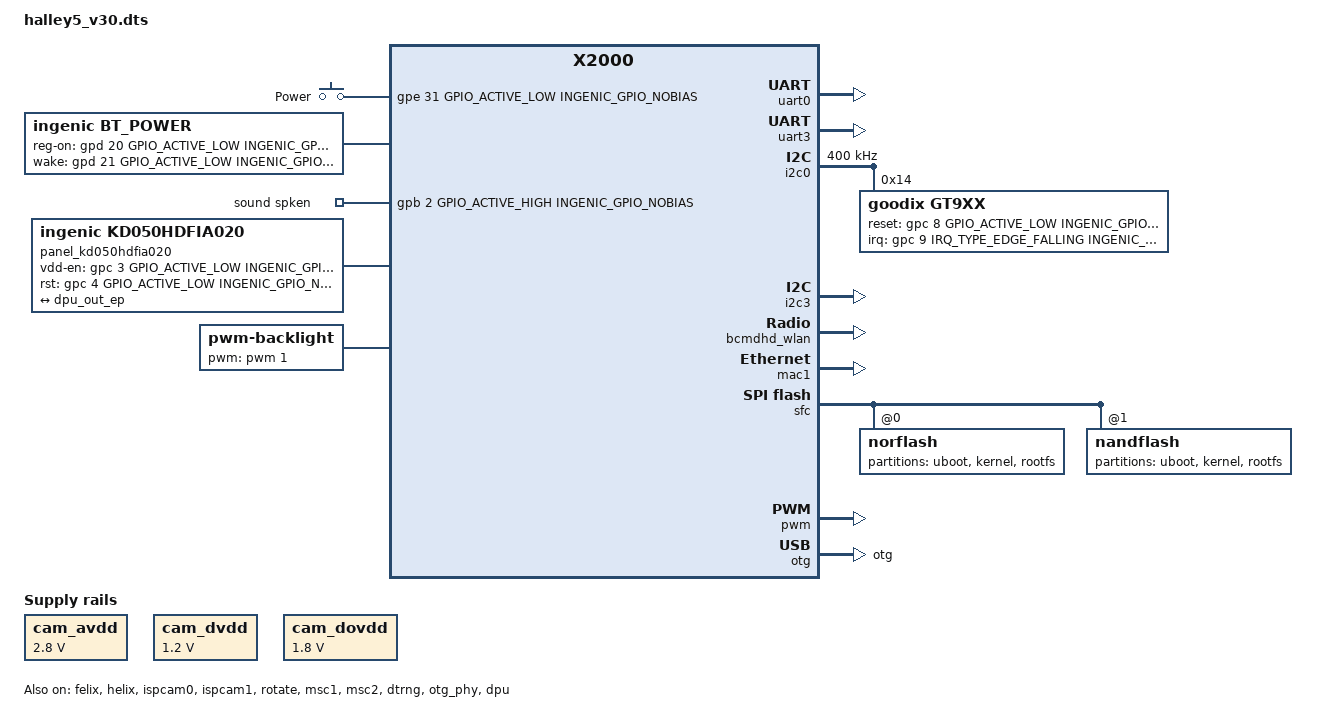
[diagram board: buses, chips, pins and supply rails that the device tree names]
/dts-v1/;

#include <dt-bindings/input/input.h>
#include "x2000.dtsi"
#include <dt-bindings/interrupt-controller/irq.h>
#include <generated/autoconf.h>

#ifdef  CONFIG_RD_X2000_HALLEY5_CAMERA_2V1
#include "halley5_cameras/RD_X2000_HALLEY5_CAMERA_2V1.dtsi"
#elif CONFIG_RD_X2000_HALLEY5_CAMERA_3V2
#ifdef CONFIG_OV4689_1080P_120FPS
#include "halley5_cameras/RD_X2000_HALLEY5_CAMERA_3V2_4LANE.dtsi"
#else
#include "halley5_cameras/RD_X2000_HALLEY5_CAMERA_3V2.dtsi"
#endif
#elif CONFIG_RD_X2000_HALLEY5_CAMERA_4V2
#include "halley5_cameras/RD_X2000_HALLEY5_CAMERA_4V2.dtsi"
#elif CONFIG_RD_X2000_HALLEY5_CAMERA_4V3
#include "halley5_cameras/RD_X2000_HALLEY5_CAMERA_4V3.dtsi"
#elif CONFIG_RD_X2000_HALLEY5_CAMERA_5V0
#include "halley5_cameras/RD_X2000_HALLEY5_CAMERA_5V0.dtsi"
#endif

/ {
	compatible = "ingenic,halley5", "ingenic,x2000";

	/*chosen {
		bootargs = "console=ttyS1,115200 mem=128M@0x0ip=off init=/linuxrc ubi.mtd=3 root=ubi0:rootfs ubi.mtd=4 rootfstype=ubifs rw";
	};*/

	reserved-memory {
		#address-cells = <1>;
		#size-cells = <1>;
		ranges =<>;

		reserved_memory: reserved_mem@0x6000000{
		      compatible = "shared-dma-pool";
		      reg = <0x06000000 0x2000000>;
		};
	};

		  cam_avdd: cam_regulator_avdd {
			  compatible = "regulator-fixed";
			  regulator-name = "cam_avdd";
			  regulator-min-microvolt = <2800000>;
			  regulator-max-microvolt = <2800000>;
			  regulator-always-on;
			  regulator-boot-on;
		  };
		  cam_dvdd: cam_regulator_dvdd {
			  compatible = "regulator-fixed";
			  regulator-name = "cam_dvdd";
			  regulator-min-microvolt = <1200000>;
			  regulator-max-microvolt = <1200000>;
			  regulator-always-on;
			  regulator-boot-on;
		  };
		  cam_dovdd: cam_regulator_dovdd {
			   compatible = "regulator-fixed";
			   regulator-name = "cam_dovdd";
			   regulator-min-microvolt = <1800000>;
			   regulator-max-microvolt = <1800000>;
			   regulator-always-on;
			   regulator-boot-on;
		  };
};

&uart0 {
	status = "okay";
	pinctrl-names = "default";
	pinctrl-0 = <&uart0_pd>;
};

&uart2 {
	status = "disable";
};

&uart3 {
	status = "okay";
	pinctrl-names = "default";
	pinctrl-0 = <&uart3_pc>;
};

&cpufreq {
	status = "okay";
	operating-points = <
		/*KHZ uV */
		1200000	900000
		750000	900000
		600000	900000
		500000	900000
		400000	900000
		375000	900000
		300000	900000
		200000	900000
			>;

};

&pinctrl {
	ingenic,gpa_voltage = <GPIO_VOLTAGE_1V8>;
};

&pinctrl {
	touchscreen_pins:touchscreen-pins {
		touchscreen_int_out_high:touchscreen-int-out-high {
			ingenic,pinmux = <&gpc 9 9>;
			ingenic,pinmux-funcsel = <PINCTL_FUNCHILVL>;
		};
		touchscreen_int_out_low:touchscreen-int-out-low {
			ingenic,pinmux = <&gpc 9 9>;
			ingenic,pinmux-funcsel = <PINCTL_FUNCLOLVL>;
		};
		touchscreen_int_input:touchscreen-int-input {
			ingenic,pinmux = <&gpc 9 9>;
			ingenic,pinmux-funcsel = <PINCTL_FUNCINPUT_FE>;
		};
		touchscreen_default:touchscreen-default {
			ingenic,pinmux = <&gpc 9 9>;
			ingenic,pinmux-funcsel = <PINCTL_FUNCINPUT>;
		};
	};
};

&i2c0 {
	status = "okay";
	clock-frequency = <400000>;
	pinctrl-names = "default";
	pinctrl-0 = <&i2c0_pc>;

	goodix@14{
		compatible = "goodix,gt9xx"; /* do not modify */
		reg = <0x14>; /* do not modify */
		reset-gpios = <&gpc 8 GPIO_ACTIVE_LOW INGENIC_GPIO_NOBIAS>; /* RST pin */
		irq-gpios = <&gpc 9 IRQ_TYPE_EDGE_FALLING INGENIC_GPIO_NOBIAS>; /* INT pin */
		goodix,driver-send-cfg = <1>;
		touchscreen-size-x = <1280>;
		touchscreen-size-y = <720>;
		goodix,slide-wakeup = <0>;
		goodix,type-a-report = <0>;
		goodix,resume-in-workqueue = <0>;
		goodix,int-sync = <1>;
		goodix,swap-x2y = <0>;
		goodix,auto-update-cfg = <0>;
		goodix,power-off-sleep = <0>;
		goodix,pen-suppress-finger = <0>;
		irq-flags = <2>; /* 1 rising, 2 falling */
		pinctrl-names = "default", "int-output-high", "int-output-low", "int-input";
		pinctrl-0 = <&touchscreen_default>;
		pinctrl-1 = <&touchscreen_int_out_high>;
		pinctrl-2 = <&touchscreen_int_out_low>;
		pinctrl-3 = <&touchscreen_int_input>;
		goodix,cfg-group0 = [
			00 D0 02 00 05 0A 05 00 01 08 28
			05 50 32 03 05 00 00 00 00 00 00
			00 00 00 00 00 87 28 09 17 15 31
			0D 00 00 02 9B 03 25 00 00 00 00
			00 03 64 32 00 00 00 0F 36 94 C5
			02 07 00 00 04 9B 11 00 7B 16 00
			64 1C 00 50 25 00 42 2F 00 42 00
			00 00 00 00 00 00 00 00 00 00 00
			00 00 00 00 00 00 00 00 00 00 00
			00 00 00 00 00 00 00 00 00 00 00
			00 00 12 10 0E 0C 0A 08 06 04 02
			FF FF FF FF FF 00 00 00 00 00 00
			00 00 00 00 00 00 00 00 00 00 26
			24 22 21 20 1F 1E 1D 00 02 04 06
			08 0A 0C FF FF FF FF FF FF FF FF
			FF FF FF 00 00 00 00 00 00 00 00
			00 00 00 00 00 00 00 00 CF 01];
	};

};

&i2c3 {
	status = "okay";
};

&i2c4 {
	status = "disable";
};


&felix {
	status = "okay";
	memory-region=<&reserved_memory>;
};

&helix {
	status = "okay";
	memory-region=<&reserved_memory>;
};

&ispcam0 {
	status = "okay";
	memory-region=<&reserved_memory>;
};

&ispcam1 {
	status = "okay";
	memory-region=<&reserved_memory>;
};

&rotate {
	status = "okay";
	memory-region=<&reserved_memory>;
};

&pdma {
	status = "okay";
};

&msc0 {
	status = "disable";
	/*mmc-hs200-1_8v;*/
	cap-mmc-highspeed;
	non-removable;
	max-frequency = <50000000>;
	bus-width = <4>;
	non-removable;
	voltage-ranges = <1800 3300>;

	/* special property */
	ingenic,rst-gpios = <0>;
};

&msc1 {
	status = "okay";
	pinctrl-names ="default","enable", "disable";
	pinctrl-0 = <&msc1_4bit>;
	pinctrl-1 = <&rtc32k_enable>;
	pinctrl-2 = <&rtc32k_disable>;

	sd-uhs-sdr104;
	max-frequency = <100000000>;
	bus-width = <4>;
	voltage-ranges = <1800 3300>;
	non-removable;

	ingenic,sdio_clk = <1>;
	keep-power-in-suspend;

	/* special property */
	ingenic,sdr-gpios = <0>;
	ingenic,rst-gpios = <0>;
	ingenic,removal-manual; /*removal-dontcare, removal-nonremovable, removal-removable, removal-manual*/

	bcmdhd_wlan: bcmdhd_wlan {
		 compatible = "android,bcmdhd_wlan";
		 ingenic,sdio-irq = <&gpd 0 IRQ_TYPE_LEVEL_HIGH INGENIC_GPIO_NOBIAS>;
		 ingenic,sdio-reset = <&gpd 1 GPIO_ACTIVE_LOW INGENIC_GPIO_NOBIAS>;
	};
};

&msc2 {
	status = "okay";
	pinctrl-names ="default";
	pinctrl-0 = <&msc2_4bit>;
	sd-uhs-sdr104;
	/*cap-mmc-highspeed;*/
	max-frequency = <200000000>;
	bus-width = <4>;
	voltage-ranges = <1800 3300>;

	/* special property */
	cd-gpios = <&gpc 12 GPIO_ACTIVE_LOW INGENIC_GPIO_NOBIAS>;
	wp-gpios = <0>;
	ingenic,sdr-gpios = <&gpc 0 GPIO_ACTIVE_HIGH INGENIC_GPIO_NOBIAS>;
	ingenic,rst-gpios = <0>;
};


&mac1 {
	pinctrl-names = "default", "reset";
	pinctrl-0 = <&mac1_rgmii_p0_normal>, <&mac1_rgmii_p1_normal>;
	pinctrl-1 = <&mac1_rgmii_p0_rst>, <&mac1_rgmii_p1_normal>;
	status = "okay";
	ingenic,rst-gpio = <&gpb 16 GPIO_ACTIVE_LOW INGENIC_GPIO_NOBIAS>;
	ingenic,rst-ms = <10>;
	ingenic,rst-delay-ms = <15>;
	ingenic,mac-mode = <RGMII>;
	ingenic,mode-reg = <0xb00000e8>;
	ingenic,rx-clk-delay = <0x0>;
	ingenic,tx-clk-delay = <0x3f>;
	/*force mac mode*/
	/*
	ingenic,mac-force = <MAC_ON>;
	ingenic,mac-autoneg = <MAC_ON>;
	ingenic,mac-speed = <MAC_SPEED_1000M>;
	ingenic,mac-duplex = <MAC_DUPLEX_HALF>;
	ingenic,no_phy_connect;
	*/
};

&sfc {
	status = "okay";
	pinctrl-names = "default";
	pinctrl-0 = <&sfc_pe>;
	ingenic,sfc-init-frequency = <200000000>;
	ingenic,sfc-max-frequency = <400000000>;
	ingenic,use_ofpart_info  = /bits/ 8 <0>;
	ingenic,spiflash_param_offset = <0>;

	norflash@0 {
		partitions {
			compatible = "fixed-partitions";
			#address-cells = <1>;
			#size-cells = <1>;

			/* spi nor flash partition */
			uboot@0 {
				label = "uboot";
				reg = <0x0000000 0x40000>;
				/*read-only;*/
			};

			kernel@40000 {
				label = "kernel";
				reg = <0x40000 0x300000>;
			};

			rootfs@360000 {
				label = "rootfs";
				reg = <0x360000 0xca0000>;
			};
		};
	};

	nandflash@1 {
		partitions {
			compatible = "fixed-partitions";
			#address-cells = <1>;
			#size-cells = <1>;

			/* spi nand flash partition */
			partition@0 {
				label = "uboot";
				reg = <0x0000000 0x100000>;
				/*read-only;*/
			};

			partition@100000 {
				label = "kernel";
				reg = <0x100000 0x800000>;
			};

			partition@900000 {
				label = "rootfs";
				reg = <0x900000 0xf700000>;
			};
		};
	};

};

&spi0 {
	status = "disable";
	pinctrl-names = "default";
	pinctrl-0 = <&spi0_pb>;

	spi-max-frequency = <54000000>;
	num-cs = <2>;
	cs-gpios = <0>, <0>;
	/*cs-gpios = <&gpa 27 GPIO_ACTIVE_HIGH INGENIC_GPIO_NOBIAS>, <&gpa 27 GPIO_ACTIVE_HIGH INGENIC_GPIO_NOBIAS>;*/
	ingenic,chnl = <0>;
	ingenic,allow_cs_same = <1>;
	ingenic,bus_num = <0>;
	ingenic,has_dma_support = <0>;
	ingenic,spi-src-clk = <1>;/*0.ext; 1.ssi*/

	/* Add SPI interface device */
	spidev: spidev@0 {
		compatible = "rohm,dh2228fv";
		reg = <0>;
		spi-max-frequency = <10000000>;
	};
};

&dtrng {
	status = "okay";
};

&pwm {
	status = "okay";
	pinctrl-names = "default";
	pinctrl-0 = <&pwm1_pc>;
};

&otg {
	g-use-dma;
	dr_mode = "otg";
	device-using-dma = <1>;
	status = "okay";
};

&otg_phy {
	dr_mode = "otg";
	status = "okay";
	ingenic,id-dete-gpio = <&gpb 29 GPIO_ACTIVE_LOW INGENIC_GPIO_NOBIAS>;
	ingenic,vbus-dete-gpio = <&gpd 17 GPIO_ACTIVE_LOW INGENIC_GPIO_NOBIAS>;
	ingenic,drvvbus-gpio = <&gpe 22 GPIO_ACTIVE_HIGH INGENIC_GPIO_NOBIAS>;
};

&as_be_baic {
	pinctrl-names = "default";
	pinctrl-0 =  <&baic4_pd>;
};

&as_dmic {
	pinctrl-names = "default";
	pinctrl-0 = <&dmic_pc_4ch>;
};

&icodec {
	ingenic,spken-gpio = <&gpb 2 GPIO_ACTIVE_HIGH INGENIC_GPIO_NOBIAS>;
};

&dpu {
	status = "okay";
	ingenic,disable-rdma-fb = <1>;
	/*Defines the init state of composer fb export infomations.*/
	ingenic,layer-exported = <1 1 0 0>;
	ingenic,layer-frames   = <2 2 2 2>;
	ingenic,layer-framesize = <720 1280>, <720 1280>, <320 240>, <320 240>;   /*Max framesize for each layer.*/
	layer,color_mode	= <0 0 0 0>;					/*src fmt,*/
	layer,src-size       	= <720 1280>, <720 1280>, <320 240>, <240 200>;	/*Layer src size should smaller than framesize*/
	layer,target-size	= <720 1280>, <720 640>, <160 240>, <240 200>;	/*Target Size should smaller than src_size.*/
	layer,target-pos	= <0 0>, <0 640>, <340 480>, <100 980>;	/*target pos , the start point of the target panel.*/
	layer,enable		= <1 1 1 1>;					/*layer enabled or disabled.*/
	ingenic,logo-pan-layer	= <0>;						/*on which layer should init logo pan on.*/
	port {
		dpu_out_ep: endpoint {
			remote-endpoint = <&panel_kd050hdfia020_ep>;
	    };
	};
};


/ {

	extclk: extclk {
		clock-frequency = <24000000>;
	};

	gpio_keys: gpio_keys {
		   compatible = "gpio-keys";

		   power {
			   label = "Power";
			   linux,code = <KEY_POWER>;
			   gpios = <&gpe 31 GPIO_ACTIVE_LOW INGENIC_GPIO_NOBIAS>;
			   gpio-key,wakeup;
		   };
	   };

	/*
	 * gpd 21 bt wakeup host
	 * gpd 22 host wakeup bt
	 */
	bt_power {
		compatible = "ingenic,bt_power";
		ingenic,reg-on-gpio = <&gpd 20 GPIO_ACTIVE_LOW INGENIC_GPIO_NOBIAS>;
		ingenic,wake-gpio = <&gpd 21 GPIO_ACTIVE_LOW INGENIC_GPIO_NOBIAS>;
	};

	sound {
		compatible = "ingenic,x2000-sound";
		ingenic,model = "halley5_v30";
		ingenic,spken-gpio = <&gpb 2 GPIO_ACTIVE_HIGH INGENIC_GPIO_NOBIAS>;
	};

	display-dbi {
		compatible = "simple-bus";
		#interrupt-cells = <1>;
		#address-cells = <1>;
		#size-cells = <1>;
		ranges = <>;
		panel_kd050hdfia020 {
			compatible = "ingenic,kd050hdfia020";
			status = "okay";
			pinctrl-names = "default";
			ingenic,vdd-en-gpio = <&gpc 3 GPIO_ACTIVE_LOW INGENIC_GPIO_NOBIAS>;
			ingenic,rst-gpio = <&gpc 4 GPIO_ACTIVE_LOW INGENIC_GPIO_NOBIAS>;
		/*	ingenic,lcd-pwm-gpio = <&gpc 1 GPIO_ACTIVE_HIGH INGENIC_GPIO_NOBIAS>;*/
			port {
				panel_kd050hdfia020_ep: endpoint {
					remote-endpoint = <&dpu_out_ep>;
				};
			};
		};
	};
	backlight {
		compatible = "pwm-backlight";
		pwms = <&pwm 1 1000000>;
		brightness-levels = <0 1 2 3 4 5 6 7 8 9 10 11 12 13 14 15>;
		default-brightness-level = <4>;
	};


	spi_gpio {
		status = "disable";
		compatible = "spi-gpio";
		#address-cells = <1>;
		#size-cells = <0>;

		gpio-sck = <&gpb 28 GPIO_ACTIVE_LOW INGENIC_GPIO_NOBIAS>;
		gpio-miso = <&gpb 29 GPIO_ACTIVE_LOW INGENIC_GPIO_NOBIAS>;
		gpio-mosi = <&gpb 30 GPIO_ACTIVE_LOW INGENIC_GPIO_NOBIAS>;
		cs-gpios = <&gpb 31 GPIO_ACTIVE_LOW INGENIC_GPIO_NOBIAS>;
		num-chipselects = <1>;

		/* clients */
		spidev1: spidev1@0 {
			status = "disable";
			compatible = "rohm,dh2228fv";
			reg = <0>;
			spi-max-frequency = <500000>;
		};
	};
};


/* Board Sleep GPIO configuration. */
/* <0 1 2 3 .... 31>, set one of the pin to state.*/
&gpa {
	ingenic,gpio-sleep-pullup 	= <>;
	ingenic,gpio-sleep-pulldown 	= <>;
	ingenic,gpio-sleep-hiz		= <>;
	ingenic,gpio-sleep-low		= <>;
	ingenic,gpio-sleep-high		= <>;
};

&gpb {
	ingenic,gpio-sleep-pullup 	= <>;
	ingenic,gpio-sleep-pulldown 	= <>;
	ingenic,gpio-sleep-hiz		= <>;
	ingenic,gpio-sleep-low		= <>;
	ingenic,gpio-sleep-high		= <>;
};

&gpc {
	ingenic,gpio-sleep-pullup 	= <>;
	ingenic,gpio-sleep-pulldown 	= <>;
	ingenic,gpio-sleep-hiz		= <>;
	ingenic,gpio-sleep-low		= <>;
	ingenic,gpio-sleep-high		= <>;
};

&gpd {
	ingenic,gpio-sleep-pullup 	= <>;
	ingenic,gpio-sleep-pulldown 	= <>;
	ingenic,gpio-sleep-hiz		= <>;
	ingenic,gpio-sleep-low		= <>;
	ingenic,gpio-sleep-high		= <>;
};
